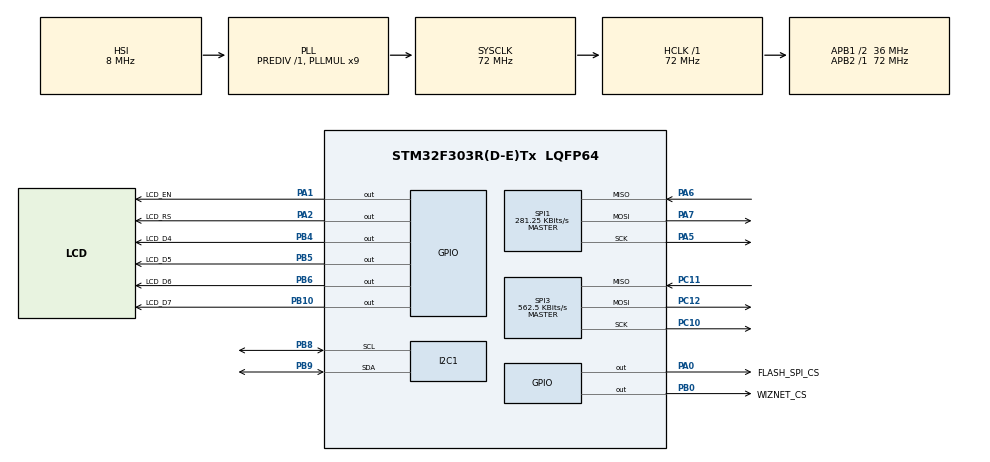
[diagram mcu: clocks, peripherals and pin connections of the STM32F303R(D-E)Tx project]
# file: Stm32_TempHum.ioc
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Mcu.Family=STM32F3
Mcu.Name=STM32F303R(D-E)Tx
Mcu.Package=LQFP64
NVIC.PriorityGroup=NVIC_PRIORITYGROUP_0
PA0.GPIO_Label=FLASH_SPI_CS
PA0.Signal=GPIO_Output
PA1.GPIO_Label=LCD_EN
PA1.Signal=GPIO_Output
PA13.Mode=Serial_Wire
PA13.Signal=SYS_JTMS-SWDIO
PA14.Mode=Serial_Wire
PA14.Signal=SYS_JTCK-SWCLK
PA2.GPIO_Label=LCD_RS
PA2.Signal=GPIO_Output
PA5.Mode=Full_Duplex_Master
PA5.Signal=SPI1_SCK
PA6.Mode=Full_Duplex_Master
PA6.Signal=SPI1_MISO
PA7.Mode=Full_Duplex_Master
PA7.Signal=SPI1_MOSI
PB0.GPIO_Label=WIZNET_CS
PB0.Signal=GPIO_Output
PB10.GPIO_Label=LCD_D7
PB10.Signal=GPIO_Output
PB4.GPIO_Label=LCD_D4
PB4.Signal=GPIO_Output
PB5.GPIO_Label=LCD_D5
PB5.Signal=GPIO_Output
PB6.GPIO_Label=LCD_D6
PB6.Signal=GPIO_Output
PB8.Mode=I2C
PB8.Signal=I2C1_SCL
PB9.Mode=I2C
PB9.Signal=I2C1_SDA
PC10.Mode=Full_Duplex_Master
PC10.Signal=SPI3_SCK
PC11.Mode=Full_Duplex_Master
PC11.Signal=SPI3_MISO
PC12.Mode=Full_Duplex_Master
PC12.Signal=SPI3_MOSI
PC14-OSC32_IN.Mode=LSE-External-Oscillator
PC14-OSC32_IN.Signal=RCC_OSC32_IN
PC15-OSC32_OUT.Mode=LSE-External-Oscillator
PC15-OSC32_OUT.Signal=RCC_OSC32_OUT
PF0-OSC_IN.Mode=HSE-External-Oscillator
PF0-OSC_IN.Signal=RCC_OSC_IN
PF1-OSC_OUT.Mode=HSE-External-Oscillator
PF1-OSC_OUT.Signal=RCC_OSC_OUT
ProjectManager.HeapSize=0x200
ProjectManager.StackSize=0x400
ProjectManager.TargetToolchain=STM32CubeIDE
RCC.AHBFreq_Value=72000000
RCC.APB1CLKDivider=RCC_HCLK_DIV2
RCC.APB1Freq_Value=36000000
RCC.APB1TimFreq_Value=72000000
RCC.APB2Freq_Value=72000000
RCC.APB2TimFreq_Value=72000000
RCC.CortexFreq_Value=72000000
RCC.HCLKFreq_Value=72000000
RCC.HSE_VALUE=8000000
RCC.HSI_VALUE=8000000
RCC.PLLM=8
RCC.PLLMUL=RCC_PLL_MUL9
RCC.PLLN=336
RCC.PLLP=RCC_PLLP_DIV4
RCC.PLLQ=7
RCC.RCC_PLLsource_Clock_Source_FROM_HSE=RCC_HSE_PREDIV_DIV2
RCC.SYSCLKFreq_VALUE=72000000
RCC.SYSCLKSourceVirtual=RCC_SYSCLKSOURCE_PLLCLK
RCC.USBFreq_Value=72000000
SPI1.BaudRatePrescaler=SPI_BAUDRATEPRESCALER_256
SPI1.CalculateBaudRate=281.25 KBits/s
SPI1.DataSize=SPI_DATASIZE_8BIT
SPI1.Direction=SPI_DIRECTION_2LINES
SPI1.Mode=SPI_MODE_MASTER
SPI1.VirtualType=VM_MASTER
SPI3.BaudRatePrescaler=SPI_BAUDRATEPRESCALER_64
SPI3.CalculateBaudRate=562.5 KBits/s
SPI3.DataSize=SPI_DATASIZE_8BIT
SPI3.Direction=SPI_DIRECTION_2LINES
SPI3.Mode=SPI_MODE_MASTER
SPI3.VirtualType=VM_MASTER
board=NUCLEO-F303RE

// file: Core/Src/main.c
/* USER CODE BEGIN Header */
/**
 ******************************************************************************
 * @file           : main.c
 * @brief          : Main program body
 ******************************************************************************
 * @attention
 *
 * <h2><center>&copy; Copyright (c) 2020 STMicroelectronics.
 * All rights reserved.</center></h2>
 *
 * This software component is licensed by ST under BSD 3-Clause license,
 * the "License"; You may not use this file except in compliance with the
 * License. You may obtain a copy of the License at:
 *                        opensource.org/licenses/BSD-3-Clause
 *
 ******************************************************************************
 */
/* USER CODE END Header */

#include "main.h"

I2C_HandleTypeDef hi2c1; 			//SHT21
SPI_HandleTypeDef hspi1;			//Flash
SPI_HandleTypeDef hspi3;			//W5500

/* USER CODE BEGIN PV */
W5500_Handle_t w5500_1;
SHT21_Handle_t sht21_1;
ExtFlash_t Flash_1;
StatusRegister_t Flash_Status_1;
SecurityRegister_t Flash_Security_1;
Mem_Handle_t Mem_Control;

/* USER CODE END PV */

void SystemClock_Config(void);
static void MX_GPIO_Init(void);
static void MX_SPI3_Init(void);
static void MX_I2C1_Init(void);
static void MX_SPI1_Init(void);

int main(void) {
	/* USER CODE BEGIN 1 */

	uint8_t bufSize[] = { 2, 2, 2, 2, 2, 2, 2, 2 }; // 8 sockets configuration  unsigned char n[10] ;

	/* USER CODE END 1 */

	/* MCU Configuration--------------------------------------------------------*/

	/* Reset of all peripherals, Initializes the Flash interface and the Systick. */
	HAL_Init();

	/* Configure the system clock */
	SystemClock_Config();

	/* Initialize all configured peripherals */
	MX_GPIO_Init();
	MX_SPI3_Init();
	MX_I2C1_Init();
	MX_SPI1_Init();
	/* USER CODE BEGIN 2 */

	/*
	 * Wiznet İnitiation
	 */
	reg_wizchip_cs_cbfunc(cs_sel, cs_desel);		//WIZNET CS Configuration
	reg_wizchip_spi_cbfunc(spi_rb, spi_wb);			//WIZNET SPI Configuration
	wizchip_init(bufSize, bufSize);					//WIZNET initiation
	client_config();								//WIZNET TCP client  configuration
	timeout_config();     							//WIZNET timeout configuration

	/*
	 * LCD initiation
	 */
	HY2004A8_Init(20, 4);  							//LCD initiation
	HY2004A8_Clear();								//LCD display clear

	/*
	 * Flash İnitiation
	 */
	FlashInit(&Mem_Control);						//Flash initiation
	Accumulation_Init(&sht21_1);					//Start sensor data accumulation

	/* USER CODE END 2 */

	/* Infinite loop */
	/* USER CODE BEGIN WHILE */

	while (1) {

		Connect_Server(&w5500_1);  //connect server

		Temp_Measure(&sht21_1);    // Temperature Measurement

		Hum_Measure(&sht21_1);     // Humidity Measurement

		Send_Lcd(&sht21_1);		   // Send data to lcd

		send(w5500_1.socket_num, (uint8_t*) sht21_1.data_T,(uint16_t) (strlen(sht21_1.data_T))); // send tem data to server
		HAL_Delay(250);
		send(w5500_1.socket_num, (uint8_t*) sht21_1.data_H,(uint16_t) (strlen(sht21_1.data_H))); // send hum data to server

		Close_Server(&w5500_1); 								//close server

		Send_Flash(&Mem_Control, &sht21_1); 					// send data to flash

		/* USER CODE END WHILE */

	}
}

void SystemClock_Config(void) {
	RCC_OscInitTypeDef RCC_OscInitStruct = { 0 };
	RCC_ClkInitTypeDef RCC_ClkInitStruct = { 0 };
	RCC_PeriphCLKInitTypeDef PeriphClkInit = { 0 };

	/** Initializes the CPU, AHB and APB busses clocks
	 */
	RCC_OscInitStruct.OscillatorType = RCC_OSCILLATORTYPE_HSI;
	RCC_OscInitStruct.HSIState = RCC_HSI_ON;
	RCC_OscInitStruct.HSICalibrationValue = RCC_HSICALIBRATION_DEFAULT;
	RCC_OscInitStruct.PLL.PLLState = RCC_PLL_ON;
	RCC_OscInitStruct.PLL.PLLSource = RCC_PLLSOURCE_HSI;
	RCC_OscInitStruct.PLL.PLLMUL = RCC_PLL_MUL9;
	RCC_OscInitStruct.PLL.PREDIV = RCC_PREDIV_DIV1;
	if (HAL_RCC_OscConfig(&RCC_OscInitStruct) != HAL_OK) {
		Error_Handler();
	}
	/** Initializes the CPU, AHB and APB busses clocks
	 */
	RCC_ClkInitStruct.ClockType = RCC_CLOCKTYPE_HCLK | RCC_CLOCKTYPE_SYSCLK
			| RCC_CLOCKTYPE_PCLK1 | RCC_CLOCKTYPE_PCLK2;
	RCC_ClkInitStruct.SYSCLKSource = RCC_SYSCLKSOURCE_PLLCLK;
	RCC_ClkInitStruct.AHBCLKDivider = RCC_SYSCLK_DIV1;
	RCC_ClkInitStruct.APB1CLKDivider = RCC_HCLK_DIV2;
	RCC_ClkInitStruct.APB2CLKDivider = RCC_HCLK_DIV1;

	if (HAL_RCC_ClockConfig(&RCC_ClkInitStruct, FLASH_LATENCY_2) != HAL_OK) {
		Error_Handler();
	}
	PeriphClkInit.PeriphClockSelection = RCC_PERIPHCLK_I2C1;
	PeriphClkInit.I2c1ClockSelection = RCC_I2C1CLKSOURCE_HSI;
	if (HAL_RCCEx_PeriphCLKConfig(&PeriphClkInit) != HAL_OK) {
		Error_Handler();
	}
}

static void MX_I2C1_Init(void) {

	hi2c1.Instance = I2C1;
	hi2c1.Init.Timing = 0x2000090E;
	hi2c1.Init.OwnAddress1 = 0;
	hi2c1.Init.AddressingMode = I2C_ADDRESSINGMODE_7BIT;
	hi2c1.Init.DualAddressMode = I2C_DUALADDRESS_DISABLE;
	hi2c1.Init.OwnAddress2 = 0;
	hi2c1.Init.OwnAddress2Masks = I2C_OA2_NOMASK;
	hi2c1.Init.GeneralCallMode = I2C_GENERALCALL_DISABLE;
	hi2c1.Init.NoStretchMode = I2C_NOSTRETCH_DISABLE;
	if (HAL_I2C_Init(&hi2c1) != HAL_OK) {
		Error_Handler();
	}
	/** Configure Analogue filter
	 */
	if (HAL_I2CEx_ConfigAnalogFilter(&hi2c1, I2C_ANALOGFILTER_ENABLE)
			!= HAL_OK) {
		Error_Handler();
	}
	/** Configure Digital filter
	 */
	if (HAL_I2CEx_ConfigDigitalFilter(&hi2c1, 0) != HAL_OK) {
		Error_Handler();
	}

}

static void MX_SPI1_Init(void) {

	/* SPI1 parameter configuration*/
	hspi1.Instance = SPI1;
	hspi1.Init.Mode = SPI_MODE_MASTER;
	hspi1.Init.Direction = SPI_DIRECTION_2LINES;
	hspi1.Init.DataSize = SPI_DATASIZE_8BIT;
	hspi1.Init.CLKPolarity = SPI_POLARITY_LOW;
	hspi1.Init.CLKPhase = SPI_PHASE_1EDGE;
	hspi1.Init.NSS = SPI_NSS_SOFT;
	hspi1.Init.BaudRatePrescaler = SPI_BAUDRATEPRESCALER_256;
	hspi1.Init.FirstBit = SPI_FIRSTBIT_MSB;
	hspi1.Init.TIMode = SPI_TIMODE_DISABLE;
	hspi1.Init.CRCCalculation = SPI_CRCCALCULATION_DISABLE;
	hspi1.Init.CRCPolynomial = 7;
	hspi1.Init.CRCLength = SPI_CRC_LENGTH_DATASIZE;
	hspi1.Init.NSSPMode = SPI_NSS_PULSE_ENABLE;
	if (HAL_SPI_Init(&hspi1) != HAL_OK) {
		Error_Handler();
	}

}

static void MX_SPI3_Init(void) {

	/* SPI3 parameter configuration*/
	hspi3.Instance = SPI3;
	hspi3.Init.Mode = SPI_MODE_MASTER;
	hspi3.Init.Direction = SPI_DIRECTION_2LINES;
	hspi3.Init.DataSize = SPI_DATASIZE_8BIT;
	hspi3.Init.CLKPolarity = SPI_POLARITY_LOW;
	hspi3.Init.CLKPhase = SPI_PHASE_1EDGE;
	hspi3.Init.NSS = SPI_NSS_SOFT;
	hspi3.Init.BaudRatePrescaler = SPI_BAUDRATEPRESCALER_64;
	hspi3.Init.FirstBit = SPI_FIRSTBIT_MSB;
	hspi3.Init.TIMode = SPI_TIMODE_DISABLE;
	hspi3.Init.CRCCalculation = SPI_CRCCALCULATION_DISABLE;
	hspi3.Init.CRCPolynomial = 7;
	hspi3.Init.CRCLength = SPI_CRC_LENGTH_DATASIZE;
	hspi3.Init.NSSPMode = SPI_NSS_PULSE_ENABLE;
	if (HAL_SPI_Init(&hspi3) != HAL_OK) {
		Error_Handler();
	}

}

static void MX_GPIO_Init(void) {
	GPIO_InitTypeDef GPIO_InitStruct = { 0 };

	/* GPIO Ports Clock Enable */
	__HAL_RCC_GPIOC_CLK_ENABLE();
	__HAL_RCC_GPIOF_CLK_ENABLE();
	__HAL_RCC_GPIOA_CLK_ENABLE();
	__HAL_RCC_GPIOB_CLK_ENABLE();

	/*Configure GPIO pin Output Level */
	HAL_GPIO_WritePin(GPIOA, FLASH_SPI_CS_Pin | LCD_EN_Pin | LCD_RS_Pin,
			GPIO_PIN_RESET);

	/*Configure GPIO pin Output Level */
	HAL_GPIO_WritePin(GPIOB,
			WIZNET_CS_Pin | LCD_D7_Pin | LCD_D4_Pin | LCD_D5_Pin | LCD_D6_Pin,
			GPIO_PIN_RESET);

	/*Configure GPIO pins : FLASH_SPI_CS_Pin LCD_EN_Pin LCD_RS_Pin */
	GPIO_InitStruct.Pin = FLASH_SPI_CS_Pin | LCD_EN_Pin | LCD_RS_Pin;
	GPIO_InitStruct.Mode = GPIO_MODE_OUTPUT_PP;
	GPIO_InitStruct.Pull = GPIO_NOPULL;
	GPIO_InitStruct.Speed = GPIO_SPEED_FREQ_LOW;
	HAL_GPIO_Init(GPIOA, &GPIO_InitStruct);

	/*Configure GPIO pins : WIZNET_CS_Pin LCD_D7_Pin LCD_D4_Pin LCD_D5_Pin
	 LCD_D6_Pin */
	GPIO_InitStruct.Pin = WIZNET_CS_Pin | LCD_D7_Pin | LCD_D4_Pin | LCD_D5_Pin
			| LCD_D6_Pin;
	GPIO_InitStruct.Mode = GPIO_MODE_OUTPUT_PP;
	GPIO_InitStruct.Pull = GPIO_NOPULL;
	GPIO_InitStruct.Speed = GPIO_SPEED_FREQ_LOW;
	HAL_GPIO_Init(GPIOB, &GPIO_InitStruct);

}

void Error_Handler(void) {
}

/************************ (C) COPYRIGHT STMicroelectronics *****END OF FILE****/
